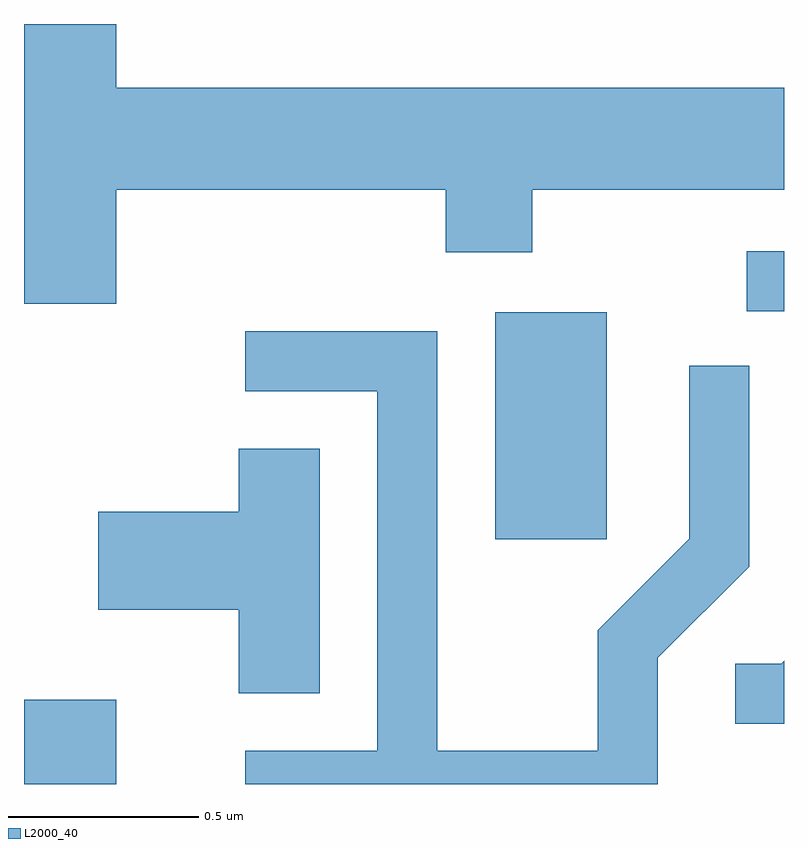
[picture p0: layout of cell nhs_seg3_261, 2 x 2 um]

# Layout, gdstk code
import gdstk
lib = gdstk.Library(unit=1e-6, precision=1e-09)
def R(c, l, rs):  # rectangles x0, y0, x1, y1
    for r in rs: c.add(gdstk.rectangle(r[:2], r[2:], *l))
def P(c, l, *ps):  # polygons
    for p in ps: c.add(gdstk.Polygon(p, *l))
L2000_40 = (2000, 40)

nhs_seg3_261 = lib.new_cell('nhs_seg3_261')
R(nhs_seg3_261, L2000_40, [(186.611,1239.892,186.854,1240.114), (187.851,1240.536,188.144,1241.134), (188.513,1241.136,188.611,1241.294)])
P(nhs_seg3_261, L2000_40, [(186.854,1241.456),(187.721,1241.456),(187.721,1241.291),(187.949,1241.291),(187.949,1241.456),(188.611,1241.456),(188.611,1241.724),(186.854,1241.724),(186.854,1241.892),(186.611,1241.892),(186.611,1241.156),(186.854,1241.156)],
  [(188.279,1240.224),(188.519,1240.464),(188.519,1240.993),(188.361,1240.993),(188.361,1240.537),(188.121,1240.297),(188.121,1239.979),(187.699,1239.979),(187.699,1241.084),(187.193,1241.084),(187.193,1240.926),(187.541,1240.926),(187.541,1239.979),(187.193,1239.979),(187.193,1239.892),(188.279,1239.892)],
  [(187.389,1240.774),(187.176,1240.774),(187.176,1240.609),(186.806,1240.609),(186.806,1240.351),(187.176,1240.351),(187.176,1240.131),(187.389,1240.131)],
  [(188.611,1240.216),(188.604,1240.209),(188.483,1240.209),(188.483,1240.051),(188.611,1240.051)])

lib.write_gds('nhs_seg3_261.gds')
